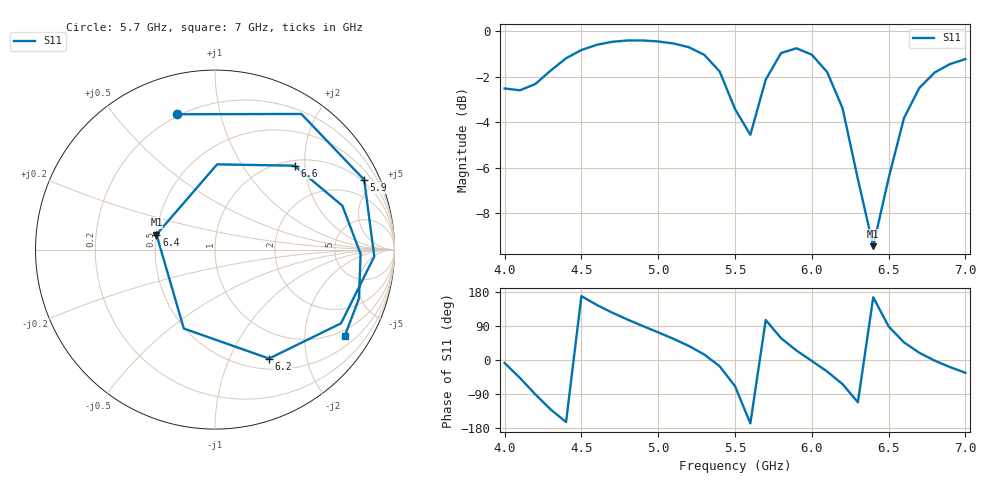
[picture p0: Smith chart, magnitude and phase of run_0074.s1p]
! Touchstone file exported from HFSS 2024.2.0
!  File:  C:/Users/wsak9/Desktop/Sim Fast/Widenad Patch/WP_AI_V1_sweep.aedt
!  Generated:  06:03:51 PM Oct 13, 2026
!  Design:  A1_model
!  Project:  WP_AI_V1_sweep
!  Setup:  Setup1
!  Solution:  Sweep
! Variables:
!  Air_gap = 4.21mm
!  Curve_Amp1 = 3.3
!  Curve_len1 = 1
!  Curve_pos = 10.5mm
!  Extra = 7.5mm
!  H_sub = 0.79mm
!  L_Patch = 17mm
!  L_Patch1 = 21.48mm
!  Sx = 3.32mm
!  Sy = 1.57mm
!  WS = 0.75mm
!  W_Patch = 10mm
!  W_Patch1 = 13.98mm
!Data is not renormalized
# GHz S MA
! Terminal data exported
! Port[1] = 1
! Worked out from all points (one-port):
!   31 points, 4 GHz to 7 GHz, reference per port
!   lowest |S11| = -9.5 dB at 6.4 GHz (marker M1), VSWR 2.02
!   |S11| at or under -10 dB: nowhere
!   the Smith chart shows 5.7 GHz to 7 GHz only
!   S11 on the Smith chart (normalised r, x): 5.7 GHz: 0.19, +0.74; 5.9 GHz: 0.88, +4.33; 6.2 GHz: 0.63, -1.42; 6.4 GHz: 0.50, +0.10; 6.6 GHz: 1.11, +1.77; 7 GHz: 0.79, -3.12
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4  0.7486 -7.8
4.1  0.7417 -47.4
4.2  0.7656 -90.6
4.3  0.8195 -130.6
4.4  0.8724 -163.9
4.5  0.9095 168.6
4.6  0.9339 145.4
4.7  0.9483 125.1
4.8  0.9546 106.8
5  0.9499 72.9
5.2  0.9224 37.0
5.3  0.8877 14.5
5.4  0.816 -16.4
5.5  0.6747 -69.0
5.6  0.5919 -167.4
5.7  0.7827 105.6
5.8  0.8959 57.5
5.9  0.9176 25.1
6  0.8883 -2.5
6.1  0.8134 -30.3
6.2  0.6777 -63.6
6.3  0.4729 -111.6
6.4  0.3367 165.6
6.5  0.475 88.6
6.6  0.6441 46.5
6.7  0.7504 19.0
6.8  0.8114 -1.7
7  0.8686 -33.7
